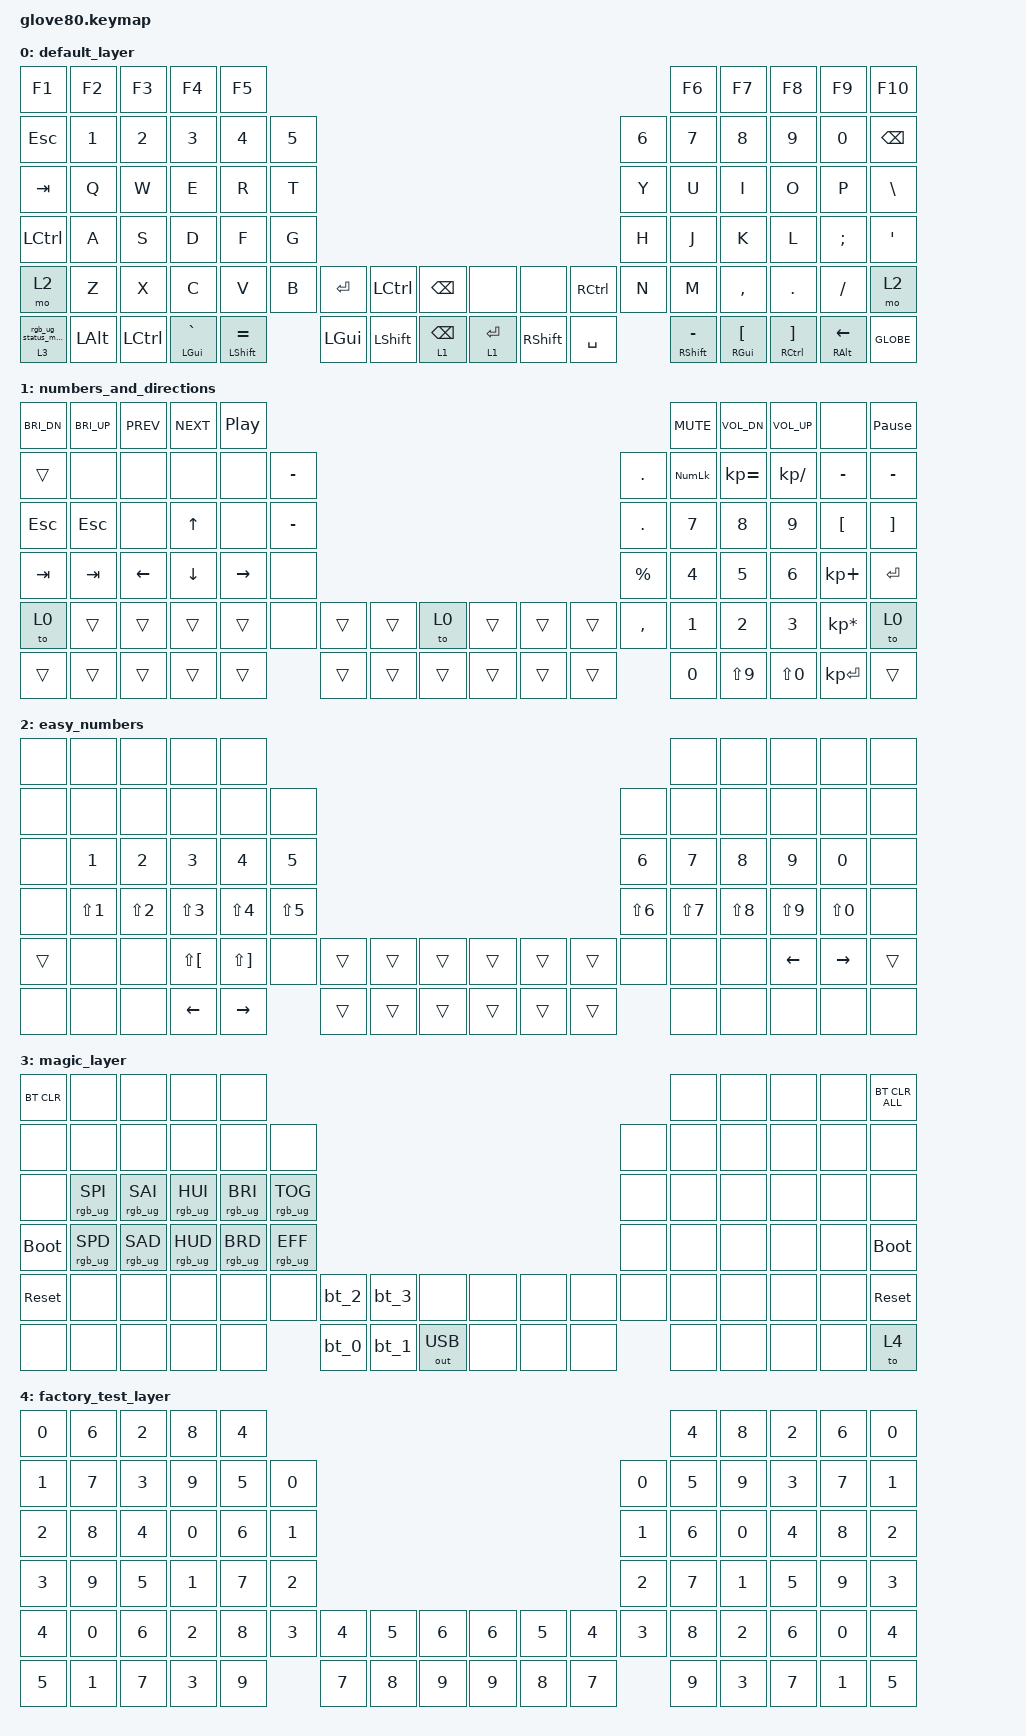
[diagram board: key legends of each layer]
/*
 * Copyright (c) 2020 The ZMK Contributors
 *
 * SPDX-License-Identifier: MIT
 */

#include <behaviors.dtsi>
#include <dt-bindings/zmk/bt.h>
#include <dt-bindings/zmk/keys.h>
#include <dt-bindings/zmk/outputs.h>
#include <dt-bindings/zmk/rgb.h>

#define HYPER LC(LS(LG(LALT)))

// layers

#define DEFAULT 0
#define LOWER 1
#define MAGIC 2
#define FACTORY_TEST 3

/ {
    behaviors {
        // For the "layer" key, it'd nice to be able to use it as either a shift or a toggle.
        // Configure it as a tap dance, so the first tap (or hold) is a &mo and the second tap is a &to

        layer_td: tap_dance_0 {
            compatible = "zmk,behavior-tap-dance";
            label = "LAYER_TAP_DANCE";
            #binding-cells = <0>;
            tapping-term-ms = <200>;
            bindings = <&mo 1>, <&to 1>;
        };

        magic: magic_hold_tap {
            compatible = "zmk,behavior-hold-tap";
            label = "MAGIC_HOLD_TAP";
            #binding-cells = <2>;
            flavor = "tap-preferred";
            tapping-term-ms = <200>;
            bindings = <&mo>, <&rgb_ug_status_macro>;
        };

        hm: hm {
            compatible = "zmk,behavior-hold-tap";
            label = "HM";
            bindings = <&kp>, <&kp>;

            #binding-cells = <2>;
            tapping-term-ms = <200>;
            flavor = "tap-preferred";
        };
    };

    macros {
        rgb_ug_status_macro: rgb_ug_status_macro_0 {
            label = "RGB_UG_STATUS";
            compatible = "zmk,behavior-macro";
            #binding-cells = <0>;
            bindings = <&rgb_ug RGB_STATUS>;
        };

        bt_0: bt_profile_macro_0 {
            label = "BT_0";
            compatible = "zmk,behavior-macro";
            #binding-cells = <0>;
            bindings = <&out OUT_BLE &bt BT_SEL 0>;
        };

        bt_1: bt_profile_macro_1 {
            label = "BT_1";
            compatible = "zmk,behavior-macro";
            #binding-cells = <0>;
            bindings = <&out OUT_BLE &bt BT_SEL 1>;
        };

        bt_2: bt_profile_macro_2 {
            label = "BT_2";
            compatible = "zmk,behavior-macro";
            #binding-cells = <0>;
            bindings = <&out OUT_BLE &bt BT_SEL 2>;
        };

        bt_3: bt_profile_macro_3 {
            label = "BT_3";
            compatible = "zmk,behavior-macro";
            #binding-cells = <0>;
            bindings = <&out OUT_BLE &bt BT_SEL 3>;
        };
    };

    keymap {
        compatible = "zmk,keymap";

        default_layer {
            // ---------------------------------------------------------------------------------------------------------------------------------
            // |  F1   |  F2 |  F3 |  F4  |  F5  |                                                               |  F6   |  F7   |  F8  |   F9  |  F10 |
            // |  =    |  1  |  2  |  3   |  4   |  5   |                                                 |  6   |   7   |   8   |  9   |   0   |   -  |
            // |  TAB  |  Q  |  W  |  E   |  R   |  T   |                                                 |  Y   |   U   |   I   |  O   |   P   |   \  |
            // |  ESC  |  A  |  S  |  D   |  F   |  G   |                                                 |  H   |   J   |   K   |  L   |   ;   |   '  |
            // |   `   |  Z  |  X  |  C   |  V   |  B   | LSHFT | LCTRL | LOWER | | LGUI  | RCTRL | RSHFT |  N   |   M   |   ,   |  .   |   /   | PGUP |
            // | MAGIC | HOME| END | LEFT | RIGHT|      | BSPC  | DEL   | LALT  | | RALT  | RET   | SPACE |      |  UP   | DOWN  |  [   |   ]   | PGDN |

            bindings = <
&kp F1      &kp F2    &kp F3     &kp F4          &kp F5                                                                                                     &kp F6           &kp F7                 &kp F8                   &kp F9               &kp F10
&kp ESCAPE  &kp N1    &kp N2     &kp N3          &kp N4           &kp N5                                                                            &kp N6  &kp N7           &kp N8                 &kp N9                   &kp N0               &kp BACKSPACE
&kp TAB     &kp Q     &kp W      &kp E           &kp R            &kp T                                                                             &kp Y   &kp U            &kp I                  &kp O                    &kp P                &kp BSLH
&kp LCTRL   &kp A     &kp S      &kp D           &kp F            &kp G                                                                             &kp H   &kp J            &kp K                  &kp L                    &kp SEMI             &kp SQT
&mo 2       &kp Z     &kp X      &kp C           &kp V            &kp B   &kp ENTER  &kp LCTRL  &kp BACKSPACE    &none        &none      &kp RCTRL  &kp N   &kp M            &kp COMMA              &kp DOT                  &kp FSLH             &mo 2
&magic 3 0  &kp LALT  &kp LCTRL  &hm LGUI GRAVE  &hm LSHFT EQUAL          &kp LGUI   &kp LSHFT  &lt 1 BACKSPACE  &lt 1 ENTER  &kp RSHFT  &kp SPACE          &hm RSHFT MINUS  &hm RGUI LEFT_BRACKET  &hm RCTRL RIGHT_BRACKET  &hm RALT LEFT_ARROW  &kp GLOBE
            >;
        };

        numbers_and_directions {
            bindings = <
&kp C_BRI_DN  &kp C_BRI_UP  &kp C_PREV  &kp C_NEXT  &kp C_PP                                                                          &kp C_MUTE  &kp C_VOL_DN  &kp C_VOL_UP   &none             &kp PAUSE_BREAK
&trans        &none         &none       &none       &none      &kp MINUS                                                  &kp PERIOD  &kp KP_NUM  &kp KP_EQUAL  &kp KP_DIVIDE  &kp MINUS         &kp MINUS
&kp ESC       &kp ESC       &none       &kp UP      &none      &kp MINUS                                                  &kp PERIOD  &kp N7      &kp N8        &kp N9         &kp LEFT_BRACKET  &kp RIGHT_BRACKET
&kp TAB       &kp TAB       &kp LEFT    &kp DOWN    &kp RIGHT  &none                                                      &kp PRCNT   &kp N4      &kp N5        &kp N6         &kp KP_PLUS       &kp ENTER
&to 0         &trans        &trans      &trans      &trans     &none      &trans  &trans  &to 0   &trans  &trans  &trans  &kp COMMA   &kp N1      &kp N2        &kp N3         &kp KP_MULTIPLY   &to 0
&trans        &trans        &trans      &trans      &trans                &trans  &trans  &trans  &trans  &trans  &trans              &kp N0      &kp LS(N9)    &kp LS(N0)     &kp KP_ENTER      &trans
            >;
        };

        easy_numbers {
            bindings = <
&none   &none             &none             &none                 &none                                                                                          &none       &none       &none       &none       &none
&none   &none             &none             &none                 &none                  &none                                                       &none       &none       &none       &none       &none       &none
&none   &kp NUMBER_1      &kp NUMBER_2      &kp NUMBER_3          &kp NUMBER_4           &kp N5                                                      &kp N6      &kp N7      &kp N8      &kp N9      &kp N0      &none
&none   &kp LS(NUMBER_1)  &kp LS(NUMBER_2)  &kp LS(NUMBER_3)      &kp LS(NUMBER_4)       &kp LS(N5)                                                  &kp LS(N6)  &kp LS(N7)  &kp LS(N8)  &kp LS(N9)  &kp LS(N0)  &none
&trans  &none             &none             &kp LS(LEFT_BRACKET)  &kp LS(RIGHT_BRACKET)  &none       &trans  &trans  &trans  &trans  &trans  &trans  &none       &none       &none       &kp LEFT    &kp RIGHT   &trans
&none   &none             &none             &kp LEFT              &kp RIGHT                          &trans  &trans  &trans  &trans  &trans  &trans              &none       &none       &none       &none       &none
            >;
        };

        magic_layer {
            bindings = <
&bt BT_CLR   &none            &none            &none            &none                                                                                     &none  &none  &none  &none  &bt BT_CLR_ALL
&none        &none            &none            &none            &none            &none                                                             &none  &none  &none  &none  &none  &none
&none        &rgb_ug RGB_SPI  &rgb_ug RGB_SAI  &rgb_ug RGB_HUI  &rgb_ug RGB_BRI  &rgb_ug RGB_TOG                                                   &none  &none  &none  &none  &none  &none
&bootloader  &rgb_ug RGB_SPD  &rgb_ug RGB_SAD  &rgb_ug RGB_HUD  &rgb_ug RGB_BRD  &rgb_ug RGB_EFF                                                   &none  &none  &none  &none  &none  &bootloader
&sys_reset   &none            &none            &none            &none            &none            &bt_2  &bt_3  &none         &none  &none  &none  &none  &none  &none  &none  &none  &sys_reset
&none        &none            &none            &none            &none                             &bt_0  &bt_1  &out OUT_USB  &none  &none  &none         &none  &none  &none  &none  &to 4
            >;
        };

        factory_test_layer {
            bindings = <
&kp N0  &kp N6  &kp N2  &kp N8  &kp N4                                                                  &kp N4  &kp N8  &kp N2  &kp N6  &kp N0
&kp N1  &kp N7  &kp N3  &kp N9  &kp N5  &kp N0                                                  &kp N0  &kp N5  &kp N9  &kp N3  &kp N7  &kp N1
&kp N2  &kp N8  &kp N4  &kp N0  &kp N6  &kp N1                                                  &kp N1  &kp N6  &kp N0  &kp N4  &kp N8  &kp N2
&kp N3  &kp N9  &kp N5  &kp N1  &kp N7  &kp N2                                                  &kp N2  &kp N7  &kp N1  &kp N5  &kp N9  &kp N3
&kp N4  &kp N0  &kp N6  &kp N2  &kp N8  &kp N3  &kp N4  &kp N5  &kp N6  &kp N6  &kp N5  &kp N4  &kp N3  &kp N8  &kp N2  &kp N6  &kp N0  &kp N4
&kp N5  &kp N1  &kp N7  &kp N3  &kp N9          &kp N7  &kp N8  &kp N9  &kp N9  &kp N8  &kp N7          &kp N9  &kp N3  &kp N7  &kp N1  &kp N5
            >;
        };
    };
};
